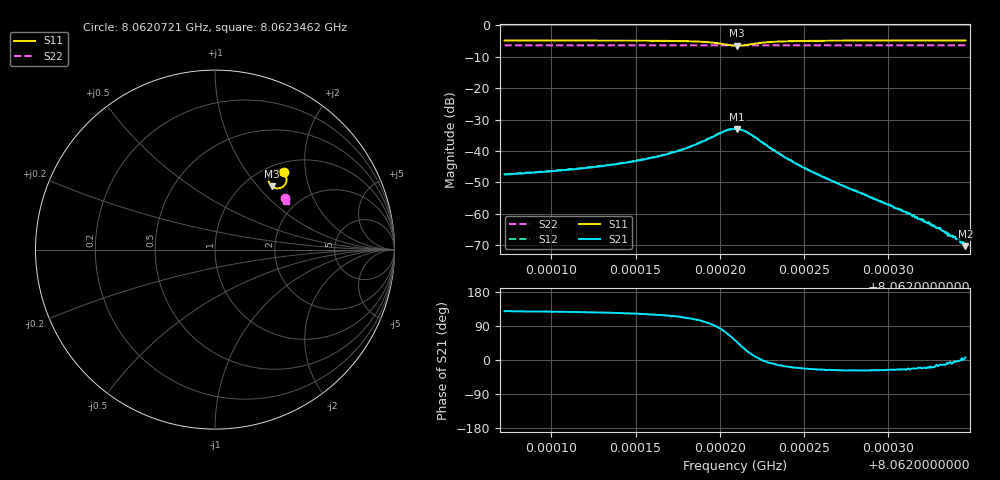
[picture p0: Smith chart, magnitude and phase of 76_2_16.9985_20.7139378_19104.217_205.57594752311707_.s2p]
#  HZ  S  RI  R  50.00
! Rohde & Schwarz Vector Network Analyzer
! Rohde-Schwarz,ZNB20-2Port,1311601062101988,3.16
! Created: UTC 3/20/2024, 10:55:25 PM
! freq[Hz]  re:S11  im:S11  re:S21  im:S21  re:S12  im:S12  re:S22  im:S22
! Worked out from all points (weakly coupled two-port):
!   401 points, 8.0620721 GHz to 8.0623462 GHz, reference 50 ohm
!   highest |S21| = -32.94 dB at 8.0622105 GHz (marker M1); lowest = -70.3 dB at 8.0623462 GHz (marker M2)
!   lowest |S11| = -6.5 dB at 8.0622105 GHz (marker M3), VSWR 2.80, Z = 65.4 + j59.5 ohm
!   |S11| at or under -10 dB: nowhere
!   |S22| runs from -6.4 to -6.3 dB; largest |S21 - S12| = 0.0016
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8.06207211e9  0.3819 0.4303  -0.00265 0.0033  -0.00247 0.0035  0.3882 0.2862
8.06211802e9  0.3874 0.4242  -0.00314 0.00423  -0.00292 0.00447  0.3898 0.2836
8.06214337e9  0.3916 0.4181  -0.00356 0.0054  -0.0033 0.0057  0.3907 0.2821
8.06216392e9  0.3959 0.4091  -0.004 0.00721  -0.00362 0.00757  0.3913 0.2807
8.06218036e9  0.3988 0.394  -0.004 0.0104  -0.0034 0.0107  0.3917 0.2794
8.06219407e9  0.3927 0.367  -0.00176 0.016  -0.000752 0.0161  0.3916 0.2777
8.06220366e9  0.3599 0.3421  0.00626 0.02  0.00765 0.0199  0.39 0.2767
8.06220914e9  0.324 0.3472  0.0137 0.0177  0.0151 0.0169  0.3888 0.2772
8.06221051e9  0.3156 0.3531  0.0156 0.0163  0.0167 0.0153  0.3885 0.2775
8.06221325e9  0.3033 0.3688  0.0177 0.0125  0.0186 0.0114  0.3884 0.2783
8.06221667e9  0.2981 0.3911  0.0181 0.00744  0.0187 0.00625  0.3886 0.2791
8.06222695e9  0.3176 0.4313  0.0129 -0.000668  0.0129 -0.00143  0.3903 0.2801
8.0622386e9  0.3404 0.4413  0.00771 -0.0023  0.00767 -0.00274  0.392 0.2795
8.06225504e9  0.3572 0.4411  0.00428 -0.00191  0.00415 -0.00218  0.3931 0.2784
8.06227628e9  0.3676 0.4382  0.0023 -0.0012  0.00225 -0.00133  0.3941 0.2773
8.06230094e9  0.3743 0.435  0.00124 -0.00061  0.00122 -0.000693  0.3952 0.276
8.06231259e9  0.3766 0.4338  0.000938 -0.000409  0.000921 -0.000471  0.3955 0.2753
8.06232355e9  0.3781 0.4328  0.000669 -0.00023  0.00067 -0.000287  0.3959 0.2747
8.06233041e9  0.3793 0.4321  0.000577 -0.000149  0.000544 -0.000192  0.3962 0.2742
8.06233657e9  0.3801 0.4316  0.000455 -5.41e-05  0.00046 -0.000113  0.3965 0.2741
8.06234137e9  0.3808 0.4311  0.000407 -1.81e-05  0.000383 -4.54e-05  0.3966 0.2736
8.06234616e9  0.3813 0.4307  0.000304 3.64e-05  0.000327 -5.74e-08  0.3967 0.2734
